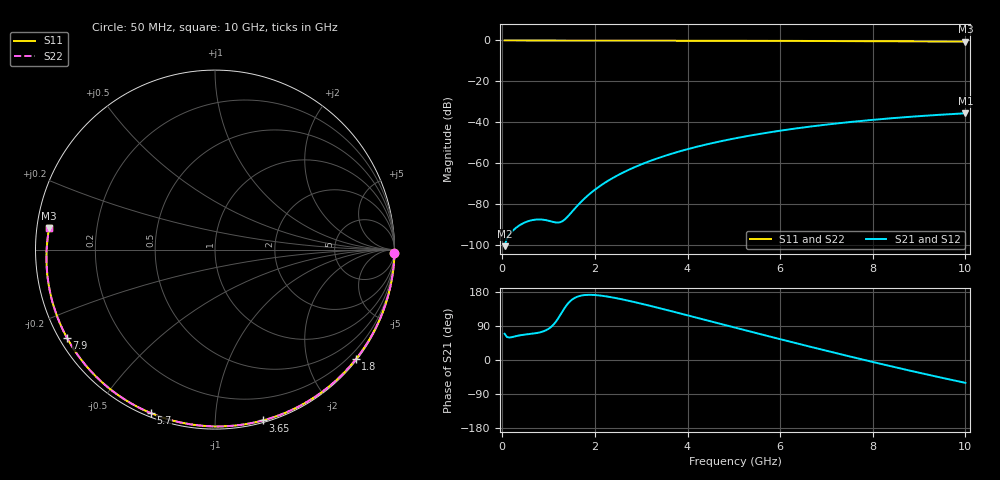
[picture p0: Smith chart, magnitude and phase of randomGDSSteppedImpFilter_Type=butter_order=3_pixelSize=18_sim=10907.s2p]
! freq	dB(S11)	phase(S11)	dB(S12)	phase(S12)
!  dB(S21)	phase(S21)	dB(S22)	phase(S22)
!S-par simulation data
#  GHz  S  DB  R 50
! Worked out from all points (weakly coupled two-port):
!   200 points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, 50 MHz to 10 GHz, reference 50 ohm
!   highest |S21| = -35.62 dB at 10 GHz (marker M1); lowest = -100.6 dB at 50 MHz (marker M2)
!   lowest |S11| = -0.6 dB at 10 GHz (marker M3), VSWR 28.26, Z = 1.78 + j3.23 ohm
!   |S11| at or under -10 dB: nowhere
!   |S22| runs from -0.6 to 0.0 dB; largest |S21 - S12| = 0
!   S11 on the Smith chart (normalised r, x): 50 MHz: open; 1.8 GHz: 0.03, -2.91; 3.65 GHz: 0.02, -1.32; 5.7 GHz: 0.02, -0.68; 7.9 GHz: 0.02, -0.27; 10 GHz: 0.04, +0.06
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0.05  -0.00 -1.1  -100.59 69.2  -100.59 69.2  -0.00 -1.1
0.4  -0.01 -8.6  -90.02 65.6  -90.02 65.6  -0.01 -8.6
0.8  -0.02 -17.1  -87.53 72.5  -87.53 72.5  -0.02 -17.1
1.2  -0.03 -25.5  -89.06 108.5  -89.06 108.5  -0.03 -25.5
1.65  -0.04 -34.8  -80.11 168.3  -80.11 168.3  -0.04 -34.8
1.75  -0.05 -36.9  -77.83 170.9  -77.83 170.9  -0.05 -36.9
1.8  -0.05 -37.9  -76.77 171.6  -76.77 171.6  -0.05 -37.9
1.95  -0.05 -41.0  -73.87 171.8  -73.87 171.8  -0.05 -41.0
2.1  -0.06 -44.0  -71.34 170.3  -71.34 170.3  -0.06 -44.0
2.45  -0.07 -51.1  -66.45 163.5  -66.45 163.5  -0.07 -51.1
2.9  -0.08 -60.0  -61.54 151.5  -61.54 151.5  -0.08 -60.0
3.4  -0.09 -69.6  -57.26 136.6  -57.26 136.6  -0.09 -69.6
3.65  -0.10 -74.4  -55.43 128.9  -55.43 128.9  -0.10 -74.4
4.35  -0.12 -87.4  -51.16 106.8  -51.16 106.8  -0.12 -87.4
5.05  -0.15 -100.1  -47.77 84.7  -47.77 84.7  -0.15 -100.1
5.7  -0.19 -111.5  -45.18 64.3  -45.18 64.3  -0.19 -111.5
6.7  -0.25 -128.7  -41.97 33.5  -41.97 33.5  -0.25 -128.7
7.3  -0.30 -139.0  -40.39 15.4  -40.39 15.4  -0.30 -139.0
7.9  -0.35 -149.2  -39.03 -2.3  -39.03 -2.3  -0.35 -149.2
8.35  -0.40 -157.1  -38.14 -15.3  -38.14 -15.3  -0.40 -157.1
9.2  -0.50 -172.3  -36.71 -39.1  -36.71 -39.1  -0.50 -172.2
10  -0.62 172.6  -35.62 -60.3  -35.62 -60.3  -0.61 172.6
